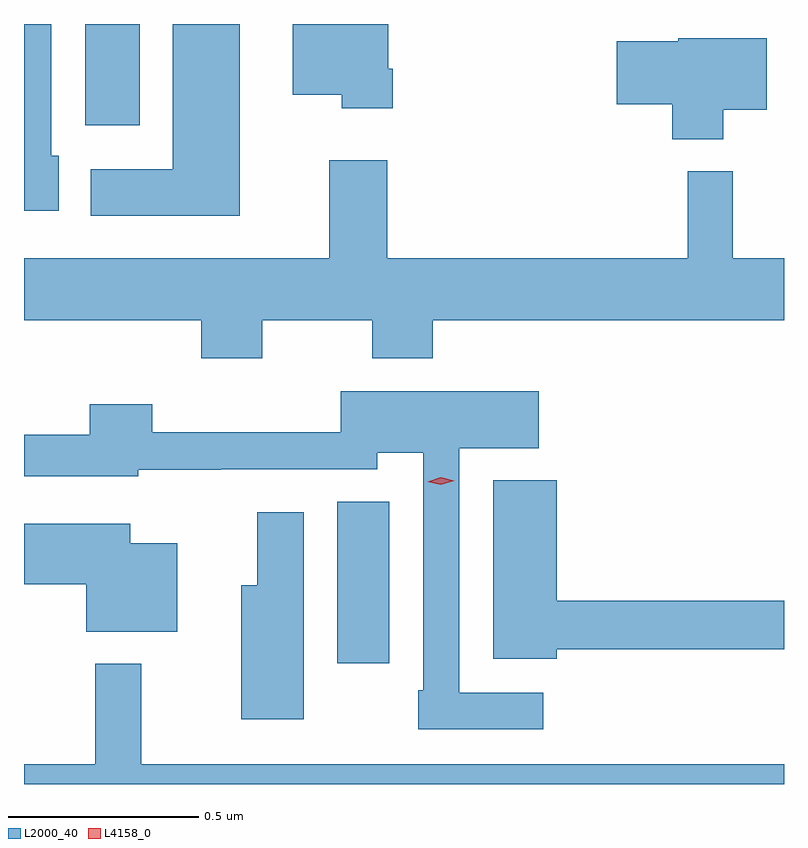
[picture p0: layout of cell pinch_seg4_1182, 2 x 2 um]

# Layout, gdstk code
import gdstk
lib = gdstk.Library(unit=1e-6, precision=1e-09)
def R(c, l, rs):  # rectangles x0, y0, x1, y1
    for r in rs: c.add(gdstk.rectangle(r[:2], r[2:], *l))
def P(c, l, *ps):  # polygons
    for p in ps: c.add(gdstk.Polygon(p, *l))
L2000_40 = (2000, 40)
L4158_0 = (4158, 0)

pinch_seg4_1182 = lib.new_cell('pinch_seg4_1182')
R(pinch_seg4_1182, L2000_40, [(485.252,770.61,485.389,771.035), (484.589,772.026,484.732,772.292)])
P(pinch_seg4_1182, L2000_40, [(484.519,771.945),(484.5,771.945),(484.5,772.292),(484.428,772.292),(484.428,771.801),(484.519,771.801)],
  [(485.399,772.174),(485.386,772.174),(485.386,772.292),(485.135,772.292),(485.135,772.106),(485.264,772.106),(485.264,772.07),(485.399,772.07)],
  [(484.996,772.292),(484.82,772.292),(484.82,771.91),(484.604,771.91),(484.604,771.788),(484.996,771.788)],
  [(486.268,772.067),(486.382,772.067),(486.382,772.255),(486.15,772.255),(486.15,772.246),(485.988,772.246),(485.988,772.081),(486.134,772.081),(486.134,771.989),(486.268,771.989)],
  [(485.055,771.512),(485.344,771.512),(485.344,771.413),(485.504,771.413),(485.504,771.512),(486.428,771.512),(486.428,771.676),(486.293,771.676),(486.293,771.904),(486.175,771.904),(486.175,771.676),(485.384,771.676),(485.384,771.934),(485.231,771.934),(485.231,771.676),(484.428,771.676),(484.428,771.512),(484.895,771.512),(484.895,771.413),(485.055,771.413)],
  [(485.794,770.532),(485.574,770.532),(485.574,771.176),(485.782,771.176),(485.782,771.325),(485.262,771.325),(485.262,771.218),(484.766,771.218),(484.766,771.292),(484.601,771.292),(484.601,771.211),(484.428,771.211),(484.428,771.102),(484.728,771.102),(484.728,771.119),(484.946,771.119),(484.946,771.12),(485.358,771.12),(485.358,771.164),(485.478,771.164),(485.478,770.539),(485.466,770.539),(485.466,770.436),(485.794,770.436)],
  [(485.83,770.646),(486.428,770.646),(486.428,770.774),(485.83,770.774),(485.83,771.091),(485.663,771.091),(485.663,770.621),(485.83,770.621)],
  [(485.164,771.007),(485.042,771.007),(485.042,770.815),(485,770.815),(485,770.463),(485.164,770.463)],
  [(484.831,770.926),(484.708,770.926),(484.708,770.977),(484.428,770.977),(484.428,770.818),(484.592,770.818),(484.592,770.693),(484.831,770.693)],
  [(486.428,770.344),(484.736,770.344),(484.736,770.608),(484.615,770.608),(484.615,770.344),(484.428,770.344),(484.428,770.292),(486.428,770.292)])
P(pinch_seg4_1182, L4158_0, [(485.525,771.079),(485.49,771.087),(485.49,771.088),(485.49,771.088),(485.525,771.099),(485.56,771.09),(485.56,771.09),(485.56,771.09)])

lib.write_gds('pinch_seg4_1182.gds')
